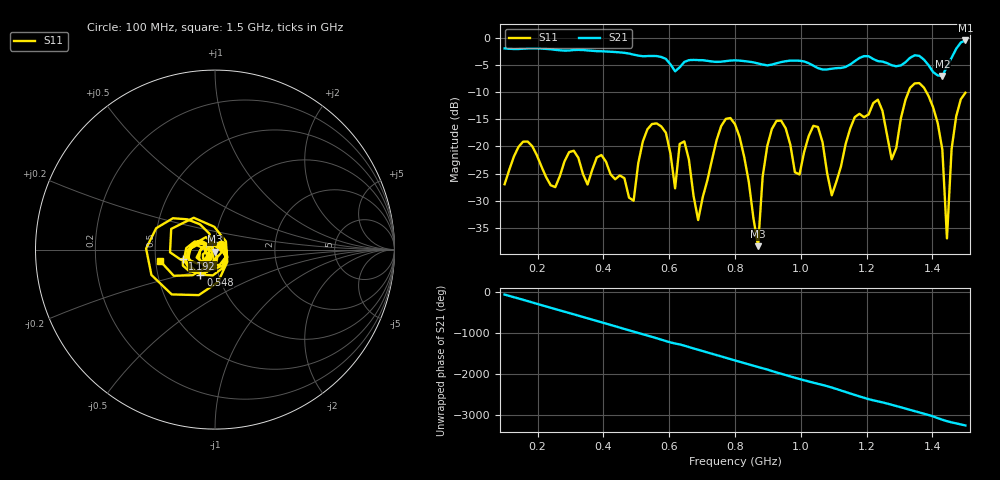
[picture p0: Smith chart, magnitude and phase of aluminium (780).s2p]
! NanoVNA-App
! Date: 2025-09-25 15:01:21
! Start: 100MHz Stop: 1,5GHz Points: 101
! S-Parameter data: F S11 S21 S12 S22
# Hz S RI R 50
!  Frequency  S11_Real  S11_Imag  S21_Real  S21_Imag  S12_Real  S12_Imag  S22_Real  S22_Imag
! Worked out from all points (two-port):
!   101 points, 100 MHz to 1.5 GHz, reference 50 ohm
!   highest |S21| = -0.45 dB at 1.5 GHz (marker M1); lowest = -7.0 dB at 1.43 GHz (marker M2)
!   |S21| within 3 dB of the highest: start of sweep to 571.7 MHz; 1.46 GHz to end of sweep (the widest 2 of 4)
!   lowest |S11| = -38.4 dB at 870 MHz (marker M3), VSWR 1.02, Z = 50.1 - j1.2 ohm
!   |S11| at or under -10 dB: start of sweep to 1.327 GHz; 1.382 GHz to end of sweep
!   S12 and S22 are empty: the file has one direction only
!   S11 on the Smith chart (normalised r, x): 100 MHz: 1.07, +0.06; 548 MHz: 0.82, -0.23; 1.192 GHz: 0.69, -0.07; 1.5 GHz: 0.53, -0.07
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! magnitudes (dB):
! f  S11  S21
! 100 MHz  -27.0  -1.9
! 156 MHz  -19.1  -2.0
! 338 MHz  -25.1  -2.2
! 492 MHz  -30.0  -3.1
! 548 MHz  -15.9  -3.3
! 576 MHz  -16.3  -3.5
! 618 MHz  -27.7  -6.1
! 646 MHz  -19.1  -4.4
! 688 MHz  -33.6  -4.1
! 800 MHz  -15.9  -4.1
! 870 MHz  -38.4  -4.7
! 912 MHz  -16.8  -4.9
! 996 MHz  -25.2  -4.2
! 1.038 GHz  -16.2  -5.1
! 1.094 GHz  -29.0  -5.7
! 1.192 GHz  -14.6  -3.3
! 1.276 GHz  -22.4  -5.0
! 1.346 GHz  -8.4  -3.2
! 1.43 GHz  -20.6  -7.0
! 1.444 GHz  -36.9  -5.2
! 1.458 GHz  -20.5  -3.7
! 1.5 GHz  -10.1  -0.5
